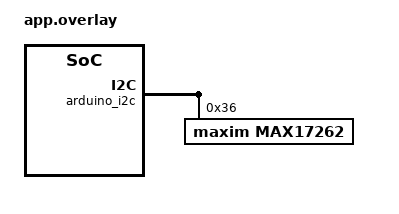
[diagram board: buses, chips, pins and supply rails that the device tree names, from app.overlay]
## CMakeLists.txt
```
# SPDX-License-Identifier: Apache-2.0

cmake_minimum_required(VERSION 3.13.1)
find_package(Zephyr REQUIRED HINTS $ENV{ZEPHYR_BASE})
project(max17262)

FILE(GLOB app_sources src/*.c)
target_sources(app PRIVATE ${app_sources})
```

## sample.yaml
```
sample:
  description: MAX17262 sensor sample
  name: MAX17262 sample
tests:
  sample.sensor.max17262:
    build_only: true
    depends_on: arduino_i2c
    harness: console
    tags: sensors
    platform_allow: nrf52840dk_nrf52840
    harness_config:
        type: one_line
        regex:
            - "V: (.*) V; I: (.*) mA; T: (.*) °C"
        fixture: fixture_i2c_max17262
```

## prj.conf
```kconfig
CONFIG_I2C=y
CONFIG_LOG=y
CONFIG_SENSOR=y
CONFIG_MAX17262=y
CONFIG_CBPRINTF_FP_SUPPORT=y
```

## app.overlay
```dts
/*
 * Copyright (c) 2021 Matija Tudan
 *
 * SPDX-License-Identifier: Apache-2.0
 */

&arduino_i2c {
	status = "okay";

	max17262@36 {
		compatible = "maxim,max17262";
		label = "MAX17262";
		reg = <0x36>;
		design-voltage = <3600>;
		desired-voltage = <3600>;
		desired-charging-current = <2000>;
		design-cap = <17000>;
		empty-voltage = <3300>;
		recovery-voltage = <3880>;
		charge-voltage = <3600>;
		status = "okay";
	};
};
```

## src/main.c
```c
/*
 * Copyright (c) 2020 Matija Tudan
 *
 * SPDX-License-Identifier: Apache-2.0
 */

#include <zephyr.h>
#include <device.h>
#include <devicetree.h>
#include <drivers/sensor.h>

#define MAX17262 DT_INST(0, maxim_max17262)

#if DT_NODE_HAS_STATUS(MAX17262, okay)
#define MAX17262_LABEL DT_LABEL(MAX17262)
#else
#error Your devicetree has no enabled nodes with compatible "maxim,max17262"
#define MAX17262_LABEL "<none>"
#endif

void main(void)
{
	const struct device *dev = device_get_binding(MAX17262_LABEL);

	if (dev == NULL) {
		printk("No device found...\n");
		return;
	}
	printk("Found device %s\n", dev->name);

	while (1) {
		struct sensor_value voltage, avg_current, temperature;
		float i_avg;

		sensor_sample_fetch(dev);
		sensor_channel_get(dev, SENSOR_CHAN_GAUGE_VOLTAGE, &voltage);
		sensor_channel_get(dev, SENSOR_CHAN_GAUGE_AVG_CURRENT,
						  &avg_current);
		sensor_channel_get(dev, SENSOR_CHAN_GAUGE_TEMP, &temperature);

		i_avg = avg_current.val1 + (avg_current.val2 / 1000000.0);

		printk("V: %d.%06d V; I: %f mA; T: %d.%06d °C\n",
		      voltage.val1, voltage.val2, i_avg,
		      temperature.val1, temperature.val2);

		k_sleep(K_MSEC(1000));
	}
}
```
